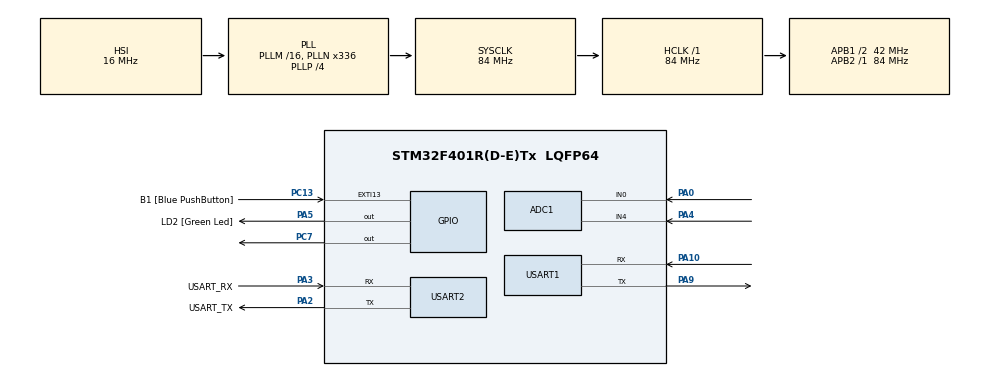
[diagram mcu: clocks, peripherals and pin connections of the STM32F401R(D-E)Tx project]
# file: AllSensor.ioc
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ADC1.Channel-0\#ChannelRegularConversion=ADC_CHANNEL_0
ADC1.Channel-1\#ChannelRegularConversion=ADC_CHANNEL_4
ADC1.ContinuousConvMode=ENABLE
ADC1.NbrOfConversion=2
ADC1.NbrOfConversionFlag=1
ADC1.Rank-0\#ChannelRegularConversion=1
ADC1.Rank-1\#ChannelRegularConversion=2
ADC1.SamplingTime-0\#ChannelRegularConversion=ADC_SAMPLETIME_3CYCLES
ADC1.SamplingTime-1\#ChannelRegularConversion=ADC_SAMPLETIME_3CYCLES
ADC1.ScanConvMode=ENABLE
ADC1.master=1
Mcu.Family=STM32F4
Mcu.Name=STM32F401R(D-E)Tx
Mcu.Package=LQFP64
NVIC.PriorityGroup=NVIC_PRIORITYGROUP_0
NVIC.USART1_IRQn=true\:0\:0\:false\:false\:true\:true\:true\:true
PA0-WKUP.Signal=ADCx_IN0
PA10.Mode=Asynchronous
PA10.Signal=USART1_RX
PA13.GPIO_Label=TMS
PA13.Mode=Serial_Wire
PA13.Signal=SYS_JTMS-SWDIO
PA14.GPIO_Label=TCK
PA14.Mode=Serial_Wire
PA14.Signal=SYS_JTCK-SWCLK
PA2.GPIO_Label=USART_TX
PA2.GPIO_Mode=GPIO_MODE_AF_PP
PA2.GPIO_PuPd=GPIO_NOPULL
PA2.GPIO_Speed=GPIO_SPEED_FREQ_LOW
PA2.Mode=Asynchronous
PA2.Signal=USART2_TX
PA3.GPIO_Label=USART_RX
PA3.GPIO_Mode=GPIO_MODE_AF_PP
PA3.GPIO_PuPd=GPIO_NOPULL
PA3.GPIO_Speed=GPIO_SPEED_FREQ_LOW
PA3.Mode=Asynchronous
PA3.Signal=USART2_RX
PA4.Signal=ADCx_IN4
PA5.GPIO_Label=LD2 [Green Led]
PA5.GPIO_Mode=GPIO_MODE_OUTPUT_PP
PA5.GPIO_PuPd=GPIO_NOPULL
PA5.GPIO_Speed=GPIO_SPEED_FREQ_LOW
PA5.Signal=GPIO_Output
PA9.Mode=Asynchronous
PA9.Signal=USART1_TX
PB3.GPIO_Label=SWO
PB3.Signal=SYS_JTDO-SWO
PC13-ANTI_TAMP.GPIO_Label=B1 [Blue PushButton]
PC13-ANTI_TAMP.GPIO_ModeDefaultEXTI=GPIO_MODE_IT_FALLING
PC13-ANTI_TAMP.GPIO_PuPd=GPIO_NOPULL
PC13-ANTI_TAMP.Signal=GPXTI13
PC14-OSC32_IN.Mode=LSE-External-Oscillator
PC14-OSC32_IN.Signal=RCC_OSC32_IN
PC15-OSC32_OUT.Mode=LSE-External-Oscillator
PC15-OSC32_OUT.Signal=RCC_OSC32_OUT
PC7.Signal=GPIO_Output
PH0\ -\ OSC_IN.Mode=HSE-External-Clock-Source
PH0\ -\ OSC_IN.Signal=RCC_OSC_IN
PH1\ -\ OSC_OUT.Mode=HSE-External-Clock-Source
PH1\ -\ OSC_OUT.Signal=RCC_OSC_OUT
ProjectManager.HeapSize=0x200
ProjectManager.StackSize=0x400
ProjectManager.TargetToolchain=STM32CubeIDE
RCC.48MHZClocksFreq_Value=48000000
RCC.AHBFreq_Value=84000000
RCC.APB1CLKDivider=RCC_HCLK_DIV2
RCC.APB1Freq_Value=42000000
RCC.APB1TimFreq_Value=84000000
RCC.APB2Freq_Value=84000000
RCC.APB2TimFreq_Value=84000000
RCC.CortexFreq_Value=84000000
RCC.HCLKFreq_Value=84000000
RCC.HSE_VALUE=8000000
RCC.HSI_VALUE=16000000
RCC.PLLN=336
RCC.PLLP=RCC_PLLP_DIV4
RCC.PLLQ=7
RCC.SYSCLKFreq_VALUE=84000000
RCC.SYSCLKSource=RCC_SYSCLKSOURCE_PLLCLK
RCC.VCOOutputFreq_Value=336000000
SH.ADCx_IN0.0=ADC1_IN0,IN0
SH.ADCx_IN4.0=ADC1_IN4,IN4
USART1.VirtualMode=VM_ASYNC
USART2.VirtualMode=VM_ASYNC
board=NUCLEO-F401RE

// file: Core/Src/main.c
/* USER CODE BEGIN Header */
/**
  ******************************************************************************
  * @file           : main.c
  * @brief          : Main program body
  ******************************************************************************
  * @attention
  *
  * Copyright (c) 2023 STMicroelectronics.
  * All rights reserved.
  *
  * This software is licensed under terms that can be found in the LICENSE file
  * in the root directory of this software component.
  * If no LICENSE file comes with this software, it is provided AS-IS.
  *
  ******************************************************************************
  */
/* USER CODE END Header */
#include "main.h"

/* USER CODE BEGIN Includes */
#include "DHT.h"
/* USER CODE END Includes */

ADC_HandleTypeDef hadc1;

UART_HandleTypeDef huart1;
UART_HandleTypeDef huart2;

void SystemClock_Config(void);
static void MX_GPIO_Init(void);
static void MX_USART2_UART_Init(void);
static void MX_ADC1_Init(void);
static void MX_USART1_UART_Init(void);

/* USER CODE BEGIN 0 */

//DHT11
DHT_DataTypedef DHT11_Data;
uint16_t Temperature, Humidity;
char send_temp[30] ,send_humid[30];
void DHT11(){
	DHT_GetData(&DHT11_Data);

    Temperature = DHT11_Data.Temperature;
    Humidity = DHT11_Data.Humidity;
//    sprintf(send_temp, "Temperature = %u C\r\n", Temperature);
//    HAL_UART_Transmit(&huart2, (uint8_t*)send_temp, strlen(send_temp), HAL_MAX_DELAY);
//
//    sprintf(send_humid, "Humidity = %u %% \r\n", Humidity);
//    HAL_UART_Transmit(&huart2, (uint8_t*)send_humid, strlen(send_humid), HAL_MAX_DELAY);
}

//MQ9
int adcval = 0;
float Smoke =0;
float smokeacc = 0;
char send_smoke[30];
float getCO(int adcval){
	float slope = -0.4523051706;
	float A = 41.12563414;
	float Rseries = 1000;
	float V_Rseries = ((float)adcval*5)/1024;
	float Rs = ((5-V_Rseries)/V_Rseries)*Rseries;
	float R0 = 129.52; //According to MQ9 datasheet table
	float Y = Rs/R0;
	int iRs = (int)Rs;
	return pow(10,(log10(Y/A)/slope));
}
void MQ9(){
	ADC_Select_CH0();
	HAL_ADC_Start(&hadc1);
	if ( HAL_ADC_PollForConversion(&hadc1, 1000) == HAL_OK){
		adcval = HAL_ADC_GetValue(&hadc1);
		Smoke = getCO(adcval);
		smokeacc += Smoke;
	}
	sprintf(send_smoke, "CO = %.3f C\r\n", Smoke);
	HAL_UART_Transmit(&huart2, (uint8_t*)send_smoke, strlen(send_smoke), HAL_MAX_DELAY);
	HAL_ADC_Stop(&hadc1);
}

//PM2.5 Sensor
int raw = 0;
int dustacc = 0;
int count = 0;
char send_dust[30];
void SharpGPY1014(){
	ADC_Select_CH4();
	HAL_ADC_Start(&hadc1);
	if ( HAL_ADC_PollForConversion(&hadc1, 1000) == HAL_OK){
		raw = HAL_ADC_GetValue(&hadc1);
		dustacc += raw;
	}
	sprintf(send_dust, "Dust = %d C\r\n", raw);
	HAL_UART_Transmit(&huart2, (uint8_t*)send_dust, strlen(send_dust), HAL_MAX_DELAY);
	HAL_ADC_Stop(&hadc1);
}

uint8_t text;
uint8_t buffer[30] = "";
int state = 0;
void HAL_UART_RxCpltCallback(UART_HandleTypeDef *huart) {
    if (huart->Instance == USART1) {
    	state = text;
    	HAL_UART_Receive_IT(&huart1, &text, 1);
    }
}
/* USER CODE END 0 */

int main(void)
{

  /* MCU Configuration--------------------------------------------------------*/

  /* Reset of all peripherals, Initializes the Flash interface and the Systick. */
  HAL_Init();

  /* USER CODE BEGIN Init */
  void ADC_Select_CH0 (void){
  	ADC_ChannelConfTypeDef sConfig = {0};
  	/** Configure for the selected ADC regular channel its corresponding rank in the sequencer and its sample time.
  	*/
  	sConfig.Channel = ADC_CHANNEL_0;
  	sConfig.Rank = 1;
  	sConfig.SamplingTime = ADC_SAMPLETIME_3CYCLES;
  	if (HAL_ADC_ConfigChannel(&hadc1, &sConfig) != HAL_OK)
  	{
  	Error_Handler();
  	}
  }

  void ADC_Select_CH4 (void){
  	ADC_ChannelConfTypeDef sConfig = {0};
  	/** Configure for the selected ADC regular channel its corresponding rank in the sequencer and its sample time.
  	*/
  	sConfig.Channel = ADC_CHANNEL_4;
  	sConfig.Rank = 1;
  	sConfig.SamplingTime = ADC_SAMPLETIME_3CYCLES;
  	if (HAL_ADC_ConfigChannel(&hadc1, &sConfig) != HAL_OK)
  	{
  	Error_Handler();
  	}
  }
  /* USER CODE END Init */

  /* Configure the system clock */
  SystemClock_Config();

  /* Initialize all configured peripherals */
  MX_GPIO_Init();
  MX_USART2_UART_Init();
  MX_ADC1_Init();
  MX_USART1_UART_Init();
  /* USER CODE BEGIN 2 */
  int last = HAL_GetTick();
  HAL_UART_Receive_IT(&huart1, &text, 1);
  /* USER CODE END 2 */

  /* Infinite loop */
  while (1)
  {

    /* USER CODE BEGIN 3 */

		int now = HAL_GetTick();

		HAL_GPIO_TogglePin(GPIOA, LD2_Pin);
		 HAL_GPIO_WritePin(GPIOC, GPIO_PIN_7, SET);
		DHT11();

		ADC_Select_CH0();
		HAL_ADC_Start(&hadc1);
		if ( HAL_ADC_PollForConversion(&hadc1, 1000) == HAL_OK){
		  adcval = HAL_ADC_GetValue(&hadc1);
		  Smoke = getCO(adcval);
		  smokeacc += Smoke;
		}
		HAL_ADC_Stop(&hadc1);

		ADC_Select_CH4();
		HAL_ADC_Start(&hadc1);
		if ( HAL_ADC_PollForConversion(&hadc1, 1000) == HAL_OK){
		  raw = HAL_ADC_GetValue(&hadc1);
		  dustacc += raw;
		}
		HAL_ADC_Stop(&hadc1);
		memset(buffer,0,16);
		sprintf (buffer, "%.3f,%d,%d,%d,50\n\r               ",Smoke,Temperature,Humidity,(int)(raw*0.7*0.25));
		HAL_UART_Transmit(&huart1,buffer, sizeof(buffer), 1);
		HAL_Delay(2500);

  }
  /* USER CODE END 3 */
}

void SystemClock_Config(void)
{
  RCC_OscInitTypeDef RCC_OscInitStruct = {0};
  RCC_ClkInitTypeDef RCC_ClkInitStruct = {0};

  /** Configure the main internal regulator output voltage
  */
  __HAL_RCC_PWR_CLK_ENABLE();
  __HAL_PWR_VOLTAGESCALING_CONFIG(PWR_REGULATOR_VOLTAGE_SCALE2);

  /** Initializes the RCC Oscillators according to the specified parameters
  * in the RCC_OscInitTypeDef structure.
  */
  RCC_OscInitStruct.OscillatorType = RCC_OSCILLATORTYPE_HSI;
  RCC_OscInitStruct.HSIState = RCC_HSI_ON;
  RCC_OscInitStruct.HSICalibrationValue = RCC_HSICALIBRATION_DEFAULT;
  RCC_OscInitStruct.PLL.PLLState = RCC_PLL_ON;
  RCC_OscInitStruct.PLL.PLLSource = RCC_PLLSOURCE_HSI;
  RCC_OscInitStruct.PLL.PLLM = 16;
  RCC_OscInitStruct.PLL.PLLN = 336;
  RCC_OscInitStruct.PLL.PLLP = RCC_PLLP_DIV4;
  RCC_OscInitStruct.PLL.PLLQ = 7;
  if (HAL_RCC_OscConfig(&RCC_OscInitStruct) != HAL_OK)
  {
    Error_Handler();
  }

  /** Initializes the CPU, AHB and APB buses clocks
  */
  RCC_ClkInitStruct.ClockType = RCC_CLOCKTYPE_HCLK|RCC_CLOCKTYPE_SYSCLK
                              |RCC_CLOCKTYPE_PCLK1|RCC_CLOCKTYPE_PCLK2;
  RCC_ClkInitStruct.SYSCLKSource = RCC_SYSCLKSOURCE_PLLCLK;
  RCC_ClkInitStruct.AHBCLKDivider = RCC_SYSCLK_DIV1;
  RCC_ClkInitStruct.APB1CLKDivider = RCC_HCLK_DIV2;
  RCC_ClkInitStruct.APB2CLKDivider = RCC_HCLK_DIV1;

  if (HAL_RCC_ClockConfig(&RCC_ClkInitStruct, FLASH_LATENCY_2) != HAL_OK)
  {
    Error_Handler();
  }
}

static void MX_ADC1_Init(void)
{

  ADC_ChannelConfTypeDef sConfig = {0};

  /** Configure the global features of the ADC (Clock, Resolution, Data Alignment and number of conversion)
  */
  hadc1.Instance = ADC1;
  hadc1.Init.ClockPrescaler = ADC_CLOCK_SYNC_PCLK_DIV4;
  hadc1.Init.Resolution = ADC_RESOLUTION_12B;
  hadc1.Init.ScanConvMode = ENABLE;
  hadc1.Init.ContinuousConvMode = ENABLE;
  hadc1.Init.DiscontinuousConvMode = DISABLE;
  hadc1.Init.ExternalTrigConvEdge = ADC_EXTERNALTRIGCONVEDGE_NONE;
  hadc1.Init.ExternalTrigConv = ADC_SOFTWARE_START;
  hadc1.Init.DataAlign = ADC_DATAALIGN_RIGHT;
  hadc1.Init.NbrOfConversion = 2;
  hadc1.Init.DMAContinuousRequests = DISABLE;
  hadc1.Init.EOCSelection = ADC_EOC_SINGLE_CONV;
  if (HAL_ADC_Init(&hadc1) != HAL_OK)
  {
    Error_Handler();
  }

//  /** Configure for the selected ADC regular channel its corresponding rank in the sequencer and its sample time.
//  */
//  sConfig.Channel = ADC_CHANNEL_0;
//  sConfig.Rank = 1;
//  sConfig.SamplingTime = ADC_SAMPLETIME_3CYCLES;
//  if (HAL_ADC_ConfigChannel(&hadc1, &sConfig) != HAL_OK)
//  {
//    Error_Handler();
//  }
//
//  /** Configure for the selected ADC regular channel its corresponding rank in the sequencer and its sample time.
//  */
//  sConfig.Channel = ADC_CHANNEL_4;
//  sConfig.Rank = 2;
//  if (HAL_ADC_ConfigChannel(&hadc1, &sConfig) != HAL_OK)
//  {
//    Error_Handler();
//  }

}

static void MX_USART1_UART_Init(void)
{

  huart1.Instance = USART1;
  huart1.Init.BaudRate = 115200;
  huart1.Init.WordLength = UART_WORDLENGTH_8B;
  huart1.Init.StopBits = UART_STOPBITS_1;
  huart1.Init.Parity = UART_PARITY_NONE;
  huart1.Init.Mode = UART_MODE_TX_RX;
  huart1.Init.HwFlowCtl = UART_HWCONTROL_NONE;
  huart1.Init.OverSampling = UART_OVERSAMPLING_16;
  if (HAL_UART_Init(&huart1) != HAL_OK)
  {
    Error_Handler();
  }

}

static void MX_USART2_UART_Init(void)
{

  huart2.Instance = USART2;
  huart2.Init.BaudRate = 115200;
  huart2.Init.WordLength = UART_WORDLENGTH_8B;
  huart2.Init.StopBits = UART_STOPBITS_1;
  huart2.Init.Parity = UART_PARITY_NONE;
  huart2.Init.Mode = UART_MODE_TX_RX;
  huart2.Init.HwFlowCtl = UART_HWCONTROL_NONE;
  huart2.Init.OverSampling = UART_OVERSAMPLING_16;
  if (HAL_UART_Init(&huart2) != HAL_OK)
  {
    Error_Handler();
  }

}

static void MX_GPIO_Init(void)
{
  GPIO_InitTypeDef GPIO_InitStruct = {0};

  /* GPIO Ports Clock Enable */
  __HAL_RCC_GPIOC_CLK_ENABLE();
  __HAL_RCC_GPIOH_CLK_ENABLE();
  __HAL_RCC_GPIOA_CLK_ENABLE();
  __HAL_RCC_GPIOB_CLK_ENABLE();

  /*Configure GPIO pin Output Level */
  HAL_GPIO_WritePin(LD2_GPIO_Port, LD2_Pin, GPIO_PIN_RESET);

  /*Configure GPIO pin Output Level */
  HAL_GPIO_WritePin(GPIOC, GPIO_PIN_7, GPIO_PIN_RESET);

  /*Configure GPIO pin : B1_Pin */
  GPIO_InitStruct.Pin = B1_Pin;
  GPIO_InitStruct.Mode = GPIO_MODE_IT_FALLING;
  GPIO_InitStruct.Pull = GPIO_NOPULL;
  HAL_GPIO_Init(B1_GPIO_Port, &GPIO_InitStruct);

  /*Configure GPIO pin : LD2_Pin */
  GPIO_InitStruct.Pin = LD2_Pin;
  GPIO_InitStruct.Mode = GPIO_MODE_OUTPUT_PP;
  GPIO_InitStruct.Pull = GPIO_NOPULL;
  GPIO_InitStruct.Speed = GPIO_SPEED_FREQ_LOW;
  HAL_GPIO_Init(LD2_GPIO_Port, &GPIO_InitStruct);

  /*Configure GPIO pin : PC7 */
  GPIO_InitStruct.Pin = GPIO_PIN_7;
  GPIO_InitStruct.Mode = GPIO_MODE_OUTPUT_PP;
  GPIO_InitStruct.Pull = GPIO_NOPULL;
  GPIO_InitStruct.Speed = GPIO_SPEED_FREQ_LOW;
  HAL_GPIO_Init(GPIOC, &GPIO_InitStruct);

}

void Error_Handler(void)
{
  __disable_irq();
  while (1)
  {
  }
}
